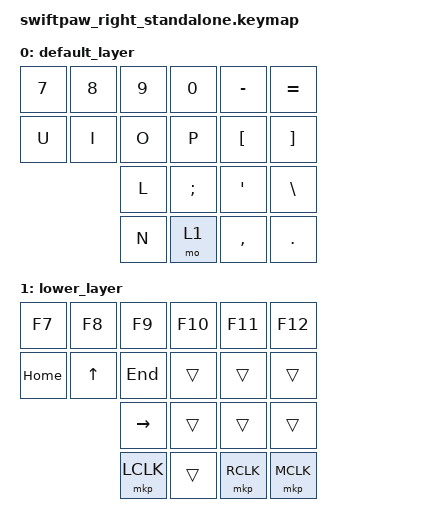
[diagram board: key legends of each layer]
#include <behaviors.dtsi>
#include <dt-bindings/zmk/keys.h>
#include <dt-bindings/zmk/bt.h>
#include <dt-bindings/zmk/mouse.h>
#include <dt-bindings/zmk/pointing.h>

#define ZMK_POINTING_DEFAULT_MOVE_VAL 1500
#define ZMK_POINTING_DEFAULT_SCRL_VAL 75

/ {
    keymap {
        compatible = "zmk,keymap";

        default_layer {
            // 20 keys total: 6 + 6 + 4 + 4 (bottom two rows start at col 2)
            bindings = <
&kp N7    &kp N8    &kp N9    &kp N0    &kp MINUS  &kp EQUAL
&kp U     &kp I     &kp O     &kp P     &kp LBKT   &kp RBKT
                     &kp L    &kp SEMI  &kp SQT    &kp BSLH
                     &kp N    &mo 1     &kp COMMA  &kp DOT
            >;
        };

        lower_layer {
            bindings = <
&kp F7    &kp F8    &kp F9    &kp F10   &kp F11    &kp F12
&kp HOME  &kp UP    &kp END   &trans    &trans     &trans
                     &kp RIGHT &trans   &trans     &trans
                     &mkp LCLK &trans   &mkp RCLK  &mkp MCLK
            >;
        };
    };
};
